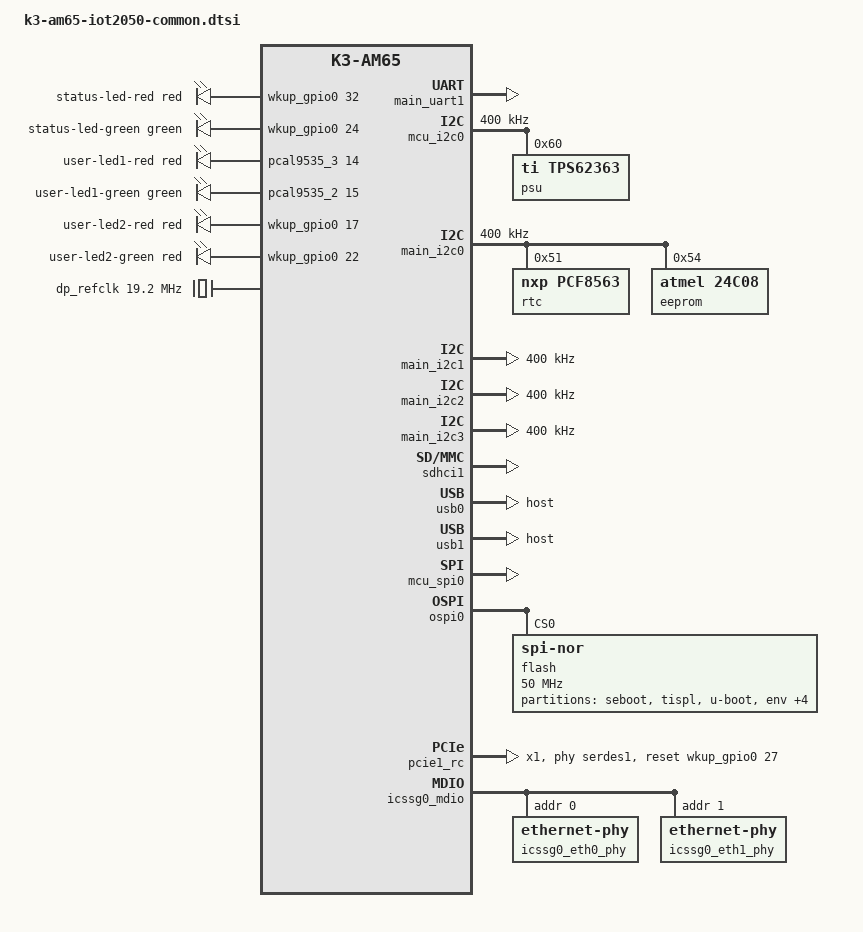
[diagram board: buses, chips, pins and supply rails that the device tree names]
// SPDX-License-Identifier: GPL-2.0-only
/*
 * Copyright (c) Siemens AG, 2018-2024
 *
 * Authors:
 *   Le Jin <le.jin@siemens.com>
 *   Jan Kiszka <jan.kiszka@siemens.com>
 *
 * Common bits of the IOT2050 Basic and Advanced variants, PG1 and PG2
 */

#include <dt-bindings/leds/common.h>
#include <dt-bindings/phy/phy.h>
#include <dt-bindings/net/ti-dp83867.h>

/ {
	aliases {
		serial0 = &wkup_uart0;
		serial1 = &mcu_uart0;
		serial2 = &main_uart0;
		serial3 = &main_uart1;
		i2c0 = &wkup_i2c0;
		i2c1 = &mcu_i2c0;
		i2c2 = &main_i2c0;
		i2c3 = &main_i2c1;
		i2c4 = &main_i2c2;
		i2c5 = &main_i2c3;
		spi0 = &mcu_spi0;
		mmc0 = &sdhci1;
		mmc1 = &sdhci0;
		ethernet1 = &icssg0_emac0;
		ethernet2 = &icssg0_emac1;
	};

	chosen {
		stdout-path = "serial3:115200n8";
	};

	reserved-memory {
		#address-cells = <2>;
		#size-cells = <2>;
		ranges;

		secure_ddr: secure-ddr@9e800000 {
			reg = <0 0x9e800000 0 0x01800000>; /* for OP-TEE */
			alignment = <0x1000>;
			no-map;
		};

		mcu_r5fss0_core0_dma_memory_region: r5f-dma-memory@a0000000 {
			compatible = "shared-dma-pool";
			reg = <0 0xa0000000 0 0x100000>;
			no-map;
		};

		mcu_r5fss0_core0_memory_region: r5f-memory@a0100000 {
			compatible = "shared-dma-pool";
			reg = <0 0xa0100000 0 0xf00000>;
			no-map;
		};

		mcu_r5fss0_core1_dma_memory_region: r5f-dma-memory@a1000000 {
			compatible = "shared-dma-pool";
			reg = <0 0xa1000000 0 0x100000>;
			no-map;
		};

		mcu_r5fss0_core1_memory_region: r5f-memory@a1100000 {
			compatible = "shared-dma-pool";
			reg = <0 0xa1100000 0 0xf00000>;
			no-map;
		};

		rtos_ipc_memory_region: ipc-memories@a2000000 {
			reg = <0x00 0xa2000000 0x00 0x00200000>;
			alignment = <0x1000>;
			no-map;
		};

		/* To reserve the power-on(PON) reason for watchdog reset */
		wdt_reset_memory_region: wdt-memory@a2200000 {
			reg = <0x00 0xa2200000 0x00 0x1000>;
			no-map;
		};
	};

	leds {
		compatible = "gpio-leds";
		pinctrl-names = "default";
		pinctrl-0 = <&leds_pins_default>;

		led-0 {
			color = <LED_COLOR_ID_RED>;
			function = LED_FUNCTION_STATUS;
			label = "status-led-red";
			gpios = <&wkup_gpio0 32 GPIO_ACTIVE_HIGH>;
			panic-indicator;
		};

		led-1 {
			color = <LED_COLOR_ID_GREEN>;
			function = LED_FUNCTION_STATUS;
			label = "status-led-green";
			gpios = <&wkup_gpio0 24 GPIO_ACTIVE_HIGH>;
		};

		led-2 {
			color = <LED_COLOR_ID_RED>;
			function = LED_FUNCTION_INDICATOR;
			label = "user-led1-red";
			gpios = <&pcal9535_3 14 GPIO_ACTIVE_HIGH>;
		};

		led-3 {
			color = <LED_COLOR_ID_GREEN>;
			function = LED_FUNCTION_INDICATOR;
			label = "user-led1-green";
			gpios = <&pcal9535_2 15 GPIO_ACTIVE_HIGH>;
		};

		led-4 {
			color = <LED_COLOR_ID_RED>;
			function = LED_FUNCTION_INDICATOR;
			label = "user-led2-red";
			gpios = <&wkup_gpio0 17 GPIO_ACTIVE_HIGH>;
		};

		led-5 {
			color = <LED_COLOR_ID_RED>;
			function = LED_FUNCTION_INDICATOR;
			label = "user-led2-green";
			gpios = <&wkup_gpio0 22 GPIO_ACTIVE_HIGH>;
		};
	};

	dp_refclk: clock {
		compatible = "fixed-clock";
		#clock-cells = <0>;
		clock-frequency = <19200000>;
	};

	/* Dual Ethernet application node on PRU-ICSSG0 */
	icssg0_eth: icssg0-eth {
		compatible = "ti,am654-icssg-prueth";
		pinctrl-names = "default";
		pinctrl-0 = <&icssg0_rgmii_pins_default>;
		sram = <&msmc_ram>;

		ti,prus = <&pru0_0>, <&rtu0_0>, <&tx_pru0_0>,
			<&pru0_1>, <&rtu0_1>, <&tx_pru0_1>;
		firmware-name = "ti-pruss/am65x-sr2-pru0-prueth-fw.elf",
				"ti-pruss/am65x-sr2-rtu0-prueth-fw.elf",
				"ti-pruss/am65x-sr2-txpru0-prueth-fw.elf",
				"ti-pruss/am65x-sr2-pru1-prueth-fw.elf",
				"ti-pruss/am65x-sr2-rtu1-prueth-fw.elf",
				"ti-pruss/am65x-sr2-txpru1-prueth-fw.elf";

		ti,pruss-gp-mux-sel = <2>,      /* MII mode */
				      <2>,
				      <2>,
				      <2>,	/* MII mode */
				      <2>,
				      <2>;

		ti,mii-g-rt = <&icssg0_mii_g_rt>;
		ti,mii-rt = <&icssg0_mii_rt>;
		ti,iep = <&icssg0_iep0>,  <&icssg0_iep1>;

		interrupt-parent = <&icssg0_intc>;
		interrupts = <24 0 2>, <25 1 3>;
		interrupt-names = "tx_ts0", "tx_ts1";

		dmas = <&main_udmap 0xc100>, /* egress slice 0 */
		       <&main_udmap 0xc101>, /* egress slice 0 */
		       <&main_udmap 0xc102>, /* egress slice 0 */
		       <&main_udmap 0xc103>, /* egress slice 0 */
		       <&main_udmap 0xc104>, /* egress slice 1 */
		       <&main_udmap 0xc105>, /* egress slice 1 */
		       <&main_udmap 0xc106>, /* egress slice 1 */
		       <&main_udmap 0xc107>, /* egress slice 1 */
		       <&main_udmap 0x4100>, /* ingress slice 0 */
		       <&main_udmap 0x4101>; /* ingress slice 1 */
		dma-names = "tx0-0", "tx0-1", "tx0-2", "tx0-3",
			    "tx1-0", "tx1-1", "tx1-2", "tx1-3",
			    "rx0", "rx1";

		ethernet-ports {
			#address-cells = <1>;
			#size-cells = <0>;
			icssg0_emac0: port@0 {
				reg = <0>;
				phy-handle = <&icssg0_eth0_phy>;
				phy-mode = "rgmii-id";
				ti,syscon-rgmii-delay = <&scm_conf 0x4100>;
				ti,half-duplex-capable;
				/* Filled in by bootloader */
				local-mac-address = [00 00 00 00 00 00];
			};

			icssg0_emac1: port@1 {
				reg = <1>;
				phy-handle = <&icssg0_eth1_phy>;
				phy-mode = "rgmii-id";
				ti,syscon-rgmii-delay = <&scm_conf 0x4104>;
				ti,half-duplex-capable;
				/* Filled in by bootloader */
				local-mac-address = [00 00 00 00 00 00];
			};
		};
	};
};

&wkup_pmx0 {
	mcu_i2c0_pins_default: mcu-i2c0-default-pins {
		pinctrl-single,pins = <
			/* (AD8) MCU_I2C0_SCL */
			AM65X_WKUP_IOPAD(0x00e8, PIN_INPUT,  0)
			/* (AD7) MCU_I2C0_SDA */
			AM65X_WKUP_IOPAD(0x00ec, PIN_INPUT,  0)
		>;
	};

	push_button_pins_default: push-button-default-pins {
		pinctrl-single,pins = <
			/* (T1) MCU_OSPI1_CLK.WKUP_GPIO0_25 */
			AM65X_WKUP_IOPAD(0x0034, PIN_INPUT,  7)
		>;
	};

	mcu_fss0_ospi0_pins_default: mcu-fss0-ospi0-default-pins {
		pinctrl-single,pins = <
			/* (V1) MCU_OSPI0_CLK */
			AM65X_WKUP_IOPAD(0x0000, PIN_OUTPUT, 0)
			/* (U2) MCU_OSPI0_DQS */
			AM65X_WKUP_IOPAD(0x0008, PIN_INPUT,  0)
			/* (U4) MCU_OSPI0_D0 */
			AM65X_WKUP_IOPAD(0x000c, PIN_INPUT,  0)
			/* (U5) MCU_OSPI0_D1 */
			AM65X_WKUP_IOPAD(0x0010, PIN_INPUT,  0)
			/* (R4) MCU_OSPI0_CSn0 */
			AM65X_WKUP_IOPAD(0x002c, PIN_OUTPUT, 0)
		>;
	};

	db9_com_mode_pins_default: db9-com-mode-default-pins {
		pinctrl-single,pins = <
			/* (AD3) WKUP_GPIO0_5, used as uart0 mode 0 */
			AM65X_WKUP_IOPAD(0x00c4, PIN_OUTPUT, 7)
			/* (AC3) WKUP_GPIO0_4, used as uart0 mode 1 */
			AM65X_WKUP_IOPAD(0x00c0, PIN_OUTPUT, 7)
			/* (AC1) WKUP_GPIO0_7, used as uart0 term */
			AM65X_WKUP_IOPAD(0x00cc, PIN_OUTPUT, 7)
			/* (AC2) WKUP_GPIO0_6, used as uart0 en */
			AM65X_WKUP_IOPAD(0x00c8, PIN_OUTPUT, 7)
		>;
	};

	leds_pins_default: leds-default-pins {
		pinctrl-single,pins = <
			/* (T2) WKUP_GPIO0_17, used as user led1 red */
			AM65X_WKUP_IOPAD(0x0014, PIN_OUTPUT, 7)
			/* (R3) WKUP_GPIO0_22, used as user led1 green */
			AM65X_WKUP_IOPAD(0x0028, PIN_OUTPUT, 7)
			/* (R5) WKUP_GPIO0_24, used as status led red */
			AM65X_WKUP_IOPAD(0x0030, PIN_OUTPUT, 7)
			/* (N2) WKUP_GPIO0_32, used as status led green */
			AM65X_WKUP_IOPAD(0x0050, PIN_OUTPUT, 7)
		>;
	};

	mcu_spi0_pins_default: mcu-spi0-default-pins {
		pinctrl-single,pins = <
			/* (Y1) MCU_SPI0_CLK */
			AM65X_WKUP_IOPAD(0x0090, PIN_INPUT,  0)
			/* (Y3) MCU_SPI0_D0 */
			AM65X_WKUP_IOPAD(0x0094, PIN_INPUT,  0)
			/* (Y2) MCU_SPI0_D1 */
			AM65X_WKUP_IOPAD(0x0098, PIN_INPUT,  0)
			/* (Y4) MCU_SPI0_CS0 */
			AM65X_WKUP_IOPAD(0x009c, PIN_OUTPUT, 0)
		>;
	};

	minipcie_pins_default: minipcie-default-pins {
		pinctrl-single,pins = <
			/* (P2) MCU_OSPI1_DQS.WKUP_GPIO0_27 */
			AM65X_WKUP_IOPAD(0x003C, PIN_OUTPUT, 7)
		>;
	};
};

&main_pmx0 {
	main_pcie_enable_pins_default: main-pcie-enable-default-pins {
		pinctrl-single,pins = <
			AM65X_IOPAD(0x01c4, PIN_INPUT_PULLUP, 7)  /* (AH13) GPIO1_17 */
		>;
	};

	main_uart1_pins_default: main-uart1-default-pins {
		pinctrl-single,pins = <
			AM65X_IOPAD(0x0174, PIN_INPUT,  6)  /* (AE23) UART1_RXD */
			AM65X_IOPAD(0x014c, PIN_OUTPUT, 6)  /* (AD23) UART1_TXD */
			AM65X_IOPAD(0x0178, PIN_INPUT,  6)  /* (AD22) UART1_CTSn */
			AM65X_IOPAD(0x017c, PIN_OUTPUT, 6)  /* (AC21) UART1_RTSn */
		>;
	};

	main_i2c3_pins_default: main-i2c3-default-pins {
		pinctrl-single,pins = <
			AM65X_IOPAD(0x01c0, PIN_INPUT,  2)  /* (AF13) I2C3_SCL */
			AM65X_IOPAD(0x01d4, PIN_INPUT,  2)  /* (AG12) I2C3_SDA */
		>;
	};

	main_mmc1_pins_default: main-mmc1-default-pins {
		pinctrl-single,pins = <
			AM65X_IOPAD(0x02d4, PIN_INPUT_PULLDOWN, 0)  /* (C27) MMC1_CLK */
			AM65X_IOPAD(0x02d8, PIN_INPUT_PULLUP,   0)  /* (C28) MMC1_CMD */
			AM65X_IOPAD(0x02d0, PIN_INPUT_PULLUP,   0)  /* (D28) MMC1_DAT0 */
			AM65X_IOPAD(0x02cc, PIN_INPUT_PULLUP,   0)  /* (E27) MMC1_DAT1 */
			AM65X_IOPAD(0x02c8, PIN_INPUT_PULLUP,   0)  /* (D26) MMC1_DAT2 */
			AM65X_IOPAD(0x02c4, PIN_INPUT_PULLUP,   0)  /* (D27) MMC1_DAT3 */
			AM65X_IOPAD(0x02dc, PIN_INPUT_PULLUP,   0)  /* (B24) MMC1_SDCD */
			AM65X_IOPAD(0x02e0, PIN_INPUT_PULLUP,   0)  /* (C24) MMC1_SDWP */
		>;
	};

	usb0_pins_default: usb0-default-pins {
		pinctrl-single,pins = <
			AM65X_IOPAD(0x02bc, PIN_OUTPUT, 0)  /* (AD9) USB0_DRVVBUS */
		>;
	};

	usb1_pins_default: usb1-default-pins {
		pinctrl-single,pins = <
			AM65X_IOPAD(0x02c0, PIN_OUTPUT, 0)  /* (AC8) USB1_DRVVBUS */
		>;
	};

	main_i2c2_pins_default: main-i2c2-default-pins {
		pinctrl-single,pins = <
			AM65X_IOPAD(0x0074, PIN_INPUT,  5)  /* (T27) I2C2_SCL */
			AM65X_IOPAD(0x0070, PIN_INPUT,  5)  /* (R25) I2C2_SDA */
		>;
	};

	icssg0_mdio_pins_default: icssg0-mdio-default-pins {
		pinctrl-single,pins = <
			AM65X_IOPAD(0x0294, PIN_INPUT, 0) /* (AE26) PRG0_MDIO0_MDIO */
			AM65X_IOPAD(0x0298, PIN_OUTPUT, 0) /* (AE28) PRG0_MDIO0_MDC */
		>;
	};

	icssg0_rgmii_pins_default: icssg0-rgmii-default-pins {
		pinctrl-single,pins = <
			AM65X_IOPAD(0x0244, PIN_INPUT, 2) /* (AB28) PRG0_PRU1_GPO0.PRG0_RGMII2_RD0 */
			AM65X_IOPAD(0x0248, PIN_INPUT, 2) /* (AC28) PRG0_PRU1_GPO1.PRG0_RGMII2_RD1 */
			AM65X_IOPAD(0x024c, PIN_INPUT, 2) /* (AC27) PRG0_PRU1_GPO2.PRG0_RGMII2_RD2 */
			AM65X_IOPAD(0x0250, PIN_INPUT, 2) /* (AB26) PRG0_PRU1_GPO3.PRG0_RGMII2_RD3 */
			AM65X_IOPAD(0x0274, PIN_OUTPUT, 2) /* (AC25) PRG0_PRU1_GPO12.PRG0_RGMII2_TD0 */
			AM65X_IOPAD(0x0278, PIN_OUTPUT, 2) /* (AD25) PRG0_PRU1_GPO13.PRG0_RGMII2_TD1 */
			AM65X_IOPAD(0x027c, PIN_OUTPUT, 2) /* (AD24) PRG0_PRU1_GPO14.PRG0_RGMII2_TD2 */
			AM65X_IOPAD(0x0280, PIN_OUTPUT, 2) /* (AE27) PRG0_PRU1_GPO15.PRG0_RGMII2_TD3 */
			AM65X_IOPAD(0x0284, PIN_INPUT, 2) /* (AC24) PRG0_PRU1_GPO16.PRG0_RGMII2_TXC */
			AM65X_IOPAD(0x0270, PIN_OUTPUT, 2) /* (AB24) PRG0_PRU1_GPO11.PRG0_RGMII2_TX_CTL */
			AM65X_IOPAD(0x025c, PIN_INPUT, 2) /* (AB27) PRG0_PRU1_GPO6.PRG0_RGMII2_RXC */
			AM65X_IOPAD(0x0254, PIN_INPUT, 2) /* (AA25) PRG0_PRU1_GPO4.PRG0_RGMII2_RX_CTL */

			AM65X_IOPAD(0x01f4, PIN_INPUT, 2) /* (V24) PRG0_PRU0_GPO0.PRG0_RGMII1_RD0 */
			AM65X_IOPAD(0x01f8, PIN_INPUT, 2) /* (W25) PRG0_PRU0_GPO1.PRG0_RGMII1_RD1 */
			AM65X_IOPAD(0x01fc, PIN_INPUT, 2) /* (W24) PRG0_PRU0_GPO2.PRG0_RGMII1_RD2 */
			AM65X_IOPAD(0x0200, PIN_INPUT, 2) /* (AA27) PRG0_PRU0_GPO3.PRG0_RGMII1_RD3 */
			AM65X_IOPAD(0x0224, PIN_OUTPUT, 2) /* (AD27) PRG0_PRU0_GPO12.PRG0_RGMII1_TD0 */
			AM65X_IOPAD(0x0228, PIN_OUTPUT, 2) /* (AC26) PRG0_PRU0_GPO13.PRG0_RGMII1_TD1 */
			AM65X_IOPAD(0x022c, PIN_OUTPUT, 2) /* (AD26) PRG0_PRU0_GPO14.PRG0_RGMII1_TD2 */
			AM65X_IOPAD(0x0230, PIN_OUTPUT, 2) /* (AA24) PRG0_PRU0_GPO15.PRG0_RGMII1_TD3 */
			AM65X_IOPAD(0x0234, PIN_INPUT, 2) /* (AD28) PRG0_PRU0_GPO16.PRG0_RGMII1_TXC */
			AM65X_IOPAD(0x0220, PIN_OUTPUT, 2) /* (AB25) PRG0_PRU0_GPO11.PRG0_RGMII1_TX_CTL */
			AM65X_IOPAD(0x020c, PIN_INPUT, 2) /* (Y25) PRG0_PRU0_GPO6.PRG0_RGMII1_RXC */
			AM65X_IOPAD(0x0204, PIN_INPUT, 2) /* (Y24) PRG0_PRU0_GPO4.PRG0_RGMII1_RX_CTL */
		>;
	};
};

&main_pmx1 {
	main_i2c0_pins_default: main-i2c0-default-pins {
		pinctrl-single,pins = <
			AM65X_IOPAD(0x0000, PIN_INPUT,  0)  /* (D20) I2C0_SCL */
			AM65X_IOPAD(0x0004, PIN_INPUT,  0)  /* (C21) I2C0_SDA */
		>;
	};

	main_i2c1_pins_default: main-i2c1-default-pins {
		pinctrl-single,pins = <
			AM65X_IOPAD(0x0008, PIN_INPUT,  0)  /* (B21) I2C1_SCL */
			AM65X_IOPAD(0x000c, PIN_INPUT,  0)  /* (E21) I2C1_SDA */
		>;
	};
};

&wkup_uart0 {
	/* Wakeup UART is used by System firmware */
	status = "reserved";
};

&main_uart1 {
	status = "okay";
	pinctrl-names = "default";
	pinctrl-0 = <&main_uart1_pins_default>;
};

&main_gpio1 {
	pinctrl-names = "default";
	pinctrl-0 = <&main_pcie_enable_pins_default>;
};

&mcu_i2c0 {
	status = "okay";
	pinctrl-names = "default";
	pinctrl-0 = <&mcu_i2c0_pins_default>;
	clock-frequency = <400000>;

	psu: regulator@60 {
		compatible = "ti,tps62363";
		reg = <0x60>;
		regulator-name = "tps62363-vout";
		regulator-min-microvolt = <500000>;
		regulator-max-microvolt = <1500000>;
		regulator-boot-on;
		ti,vsel0-state-high;
		ti,vsel1-state-high;
		ti,enable-vout-discharge;
	};
};

&main_i2c0 {
	status = "okay";
	pinctrl-names = "default";
	pinctrl-0 = <&main_i2c0_pins_default>;
	clock-frequency = <400000>;

	rtc: rtc@51 {
		compatible = "nxp,pcf8563";
		reg = <0x51>;
	};

	eeprom: eeprom@54 {
		compatible = "atmel,24c08";
		reg = <0x54>;
		pagesize = <16>;
	};
};

&main_i2c1 {
	status = "okay";
	pinctrl-names = "default";
	pinctrl-0 = <&main_i2c1_pins_default>;
	clock-frequency = <400000>;
};

&main_i2c2 {
	status = "okay";
	pinctrl-names = "default";
	pinctrl-0 = <&main_i2c2_pins_default>;
	clock-frequency = <400000>;
};

&main_i2c3 {
	status = "okay";
	pinctrl-names = "default";
	pinctrl-0 = <&main_i2c3_pins_default>;
	clock-frequency = <400000>;

	#address-cells = <1>;
	#size-cells = <0>;
};

&mcu_cpsw {
	status = "disabled";
};

&sdhci1 {
	status = "okay";
	pinctrl-names = "default";
	pinctrl-0 = <&main_mmc1_pins_default>;
	ti,driver-strength-ohm = <50>;
	disable-wp;
};

&usb0 {
	pinctrl-names = "default";
	pinctrl-0 = <&usb0_pins_default>;
	dr_mode = "host";
};

&usb1 {
	pinctrl-names = "default";
	pinctrl-0 = <&usb1_pins_default>;
	dr_mode = "host";
};

&mcu_spi0 {
	status = "okay";
	#address-cells = <1>;
	#size-cells = <0>;
	ti,pindir-d0-out-d1-in;
};

&ospi0 {
	status = "okay";
	pinctrl-names = "default";
	pinctrl-0 = <&mcu_fss0_ospi0_pins_default>;

	flash@0 {
		compatible = "jedec,spi-nor";
		reg = <0x0>;
		spi-tx-bus-width = <1>;
		spi-rx-bus-width = <1>;
		spi-max-frequency = <50000000>;
		cdns,tshsl-ns = <60>;
		cdns,tsd2d-ns = <60>;
		cdns,tchsh-ns = <60>;
		cdns,tslch-ns = <60>;
		cdns,read-delay = <2>;

		partitions {
			compatible = "fixed-partitions";
			#address-cells = <1>;
			#size-cells = <1>;

			seboot@0 {
				label = "seboot";
				reg = <0x0 0x180000>; /* 1.5M */
			};

			tispl@180000 {
				label = "tispl";
				reg = <0x180000 0x200000>; /* 2M */
			};

			u-boot@380000 {
				label = "u-boot";
				reg = <0x380000 0x300000>; /* 3M */
			};

			env@680000 {
				label = "env";
				reg = <0x680000 0x20000>; /* 128K */
			};

			env-backup@6a0000 {
				label = "env.backup";
				reg = <0x6a0000 0x20000>; /* 128K */
			};

			otpcmd@6c0000 {
				label = "otpcmd";
				reg = <0x6c0000 0x10000>; /* 64K */
			};

			unused@6d0000 {
				label = "unused";
				reg = <0x6d0000 0x7b0000>; /* 7872K */
			};

			seboot-backup@e80000 {
				label = "seboot.backup";
				reg = <0xe80000 0x180000>; /* 1.5M */
			};
		};
	};
};

&pcie1_rc {
	status = "okay";
	pinctrl-names = "default";
	pinctrl-0 = <&minipcie_pins_default>;

	num-lanes = <1>;
	phys = <&serdes1 PHY_TYPE_PCIE 0>;
	phy-names = "pcie-phy0";
	reset-gpios = <&wkup_gpio0 27 GPIO_ACTIVE_HIGH>;
};

&mailbox0_cluster0 {
	status = "okay";
	interrupts = <436>;

	mbox_mcu_r5fss0_core0: mbox-mcu-r5fss0-core0 {
		ti,mbox-tx = <1 0 0>;
		ti,mbox-rx = <0 0 0>;
	};
};

&mailbox0_cluster1 {
	status = "okay";
	interrupts = <432>;

	mbox_mcu_r5fss0_core1: mbox-mcu-r5fss0-core1 {
		ti,mbox-tx = <1 0 0>;
		ti,mbox-rx = <0 0 0>;
	};
};

&mcu_r5fss0_core0 {
	memory-region = <&mcu_r5fss0_core0_dma_memory_region>,
			<&mcu_r5fss0_core0_memory_region>;
	mboxes = <&mailbox0_cluster0 &mbox_mcu_r5fss0_core0>;
};

&mcu_r5fss0_core1 {
	memory-region = <&mcu_r5fss0_core1_dma_memory_region>,
			<&mcu_r5fss0_core1_memory_region>;
	mboxes = <&mailbox0_cluster1 &mbox_mcu_r5fss0_core1>;
};

&mcu_rti1 {
	memory-region = <&wdt_reset_memory_region>;
};

&icssg0_mdio {
	status = "okay";
	pinctrl-names = "default";
	pinctrl-0 = <&icssg0_mdio_pins_default>;

	icssg0_eth0_phy: ethernet-phy@0 {
		reg = <0>;
		ti,rx-internal-delay = <DP83867_RGMIIDCTL_2_00_NS>;
		ti,fifo-depth = <DP83867_PHYCR_FIFO_DEPTH_4_B_NIB>;
	};

	icssg0_eth1_phy: ethernet-phy@1 {
		reg = <1>;
		ti,rx-internal-delay = <DP83867_RGMIIDCTL_2_00_NS>;
		ti,fifo-depth = <DP83867_PHYCR_FIFO_DEPTH_4_B_NIB>;
	};
};
